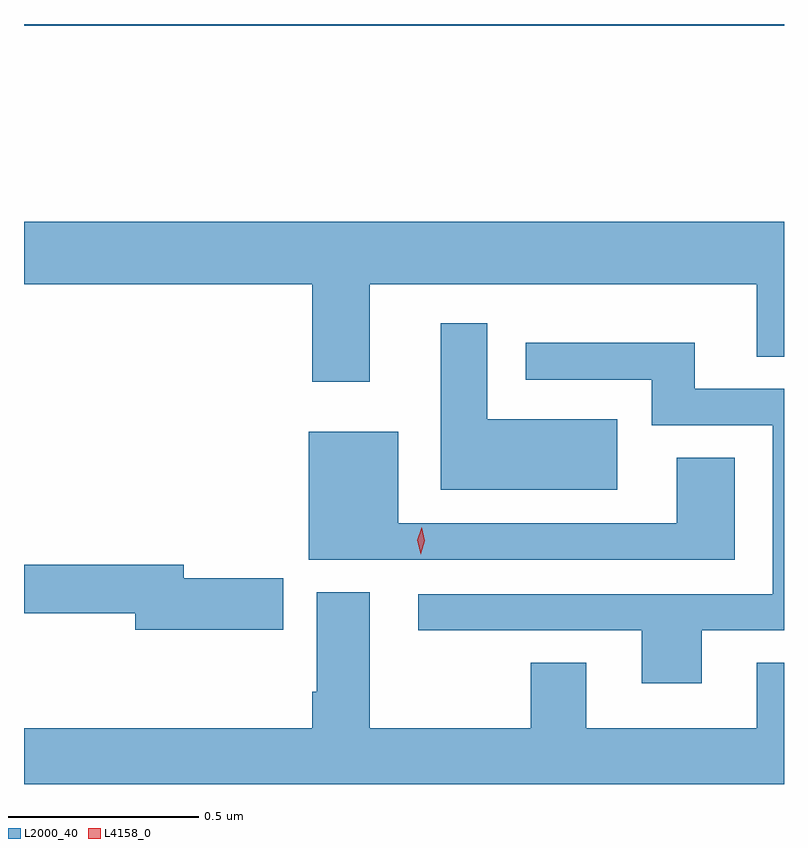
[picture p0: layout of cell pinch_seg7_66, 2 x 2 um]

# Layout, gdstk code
import gdstk
lib = gdstk.Library(unit=1e-6, precision=1e-09)
def R(c, l, rs):  # rectangles x0, y0, x1, y1
    for r in rs: c.add(gdstk.rectangle(r[:2], r[2:], *l))
def P(c, l, *ps):  # polygons
    for p in ps: c.add(gdstk.Polygon(p, *l))
L2000_40 = (2000, 40)
L4158_0 = (4158, 0)

pinch_seg7_66 = lib.new_cell('pinch_seg7_66')
R(pinch_seg7_66, L2000_40, [(971.355,1073.224,973.355,1073.229)])
P(pinch_seg7_66, L2000_40, [(972.265,1072.544),(973.283,1072.544),(973.283,1072.354),(973.355,1072.354),(973.355,1072.708),(971.355,1072.708),(971.355,1072.544),(972.113,1072.544),(972.113,1072.287),(972.265,1072.287)],
  [(972.916,1072.189),(972.574,1072.189),(972.574,1072.441),(972.452,1072.441),(972.452,1072.004),(972.916,1072.004)],
  [(973.138,1071.633),(973.355,1071.633),(973.355,1072.269),(973.12,1072.269),(973.12,1072.39),(972.675,1072.39),(972.675,1072.293),(973.007,1072.293),(973.007,1072.173),(973.325,1072.173),(973.325,1071.729),(972.393,1071.729),(972.393,1071.633),(972.98,1071.633),(972.98,1071.494),(973.138,1071.494)],
  [(973.225,1072.087),(973.073,1072.087),(973.073,1071.915),(972.34,1071.915),(972.34,1072.156),(972.104,1072.156),(972.104,1071.819),(973.225,1071.819)],
  [(972.037,1071.77),(971.776,1071.77),(971.776,1071.806),(971.355,1071.806),(971.355,1071.678),(971.648,1071.678),(971.648,1071.635),(972.037,1071.635)],
  [(973.355,1071.548),(973.283,1071.548),(973.283,1071.376),(972.835,1071.376),(972.835,1071.548),(972.688,1071.548),(972.688,1071.376),(972.265,1071.376),(972.265,1071.733),(972.125,1071.733),(972.125,1071.472),(972.113,1071.472),(972.113,1071.376),(971.355,1071.376),(971.355,1071.229),(973.355,1071.229)])
P(pinch_seg7_66, L4158_0, [(972.399,1071.833),(972.399,1071.833),(972.39,1071.87),(972.402,1071.905),(972.402,1071.905),(972.402,1071.905),(972.41,1071.869),(972.399,1071.833)])

lib.write_gds('pinch_seg7_66.gds')
